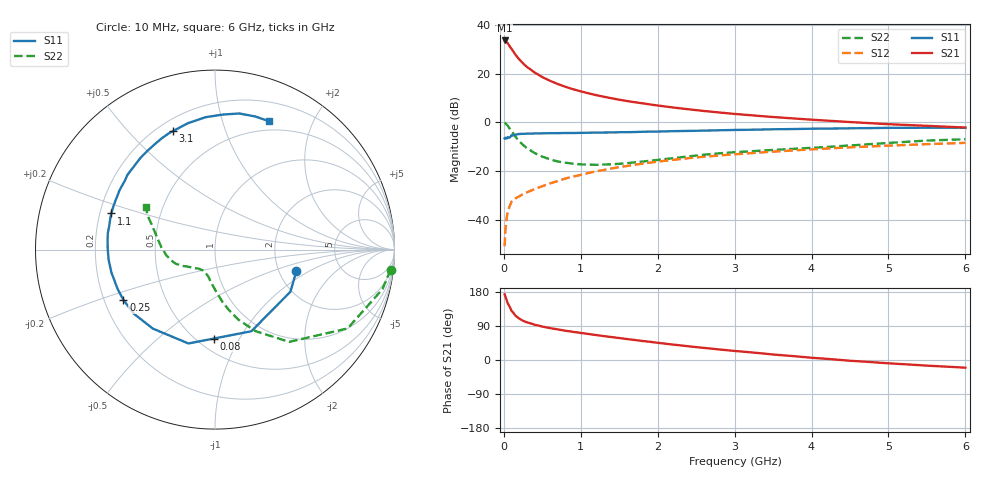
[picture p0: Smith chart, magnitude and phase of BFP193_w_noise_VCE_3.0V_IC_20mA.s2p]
! (c) 2017  Infineon Technologies AG, Munich
! Infineon Technologies  Discrete & RF Semiconductors
! BFP193
! VCE =  3.0 V,  IC =  20 mA
! Common Emitter S-Parameters:  Jan 2017
# GHz  S  MA  R  50
!  f  S11  S21  S12  S22
! GHz  MAG  ANG  MAG  ANG  MAG  ANG  MAG  ANG
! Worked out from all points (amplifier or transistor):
!   77 points, 10 MHz to 6 GHz, reference 50 ohm
!   highest |S21| = 33.5 dB at 10 MHz (marker M1)
!   |S21| within 3 dB of that: start of sweep to 89.38 MHz
!   unconditionally stable (mu >= 1): 855.7 MHz to 2.577 GHz
!   at 130 MHz: K = 0.39, MSG = 30.2 dB, |S12| = -31.7 dB
!   at 2.2 GHz: K = 1.02, MAG = 10.0 dB, |S12| = -15.4 dB
!   at 6 GHz: K = 0.92, MSG = 3.1 dB, |S12| = -8.4 dB
!   lowest NFmin = 1.05 dB at 450 MHz
!   S11 on the Smith chart (normalised r, x): 10 MHz: 2.49, -0.77; 80 MHz: 0.60, -0.79; 250 MHz: 0.28, -0.24; 1.1 GHz: 0.25, +0.16; 3.1 GHz: 0.26, +0.67; 6 GHz: 0.40, +1.43
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0.01  0.4691 -14.8  47.54 173.3  0.0029 85.7  0.9852 -6.5
0.02  0.4814 -29.2  47.35 167.0  0.0062 84.9  0.9585 -13.3
0.05  0.498 -66.0  41.79 149.6  0.0147 67.6  0.8597 -30.7
0.08  0.4958 -90.9  35.35 138.9  0.02 59.4  0.7279 -41.7
0.1  0.5435 -105.8  31.97 129.5  0.0237 56.0  0.6596 -51.2
0.15  0.5599 -128.1  24.45 117.3  0.0275 50.7  0.5092 -63.4
0.2  0.5764 -141.7  19.5 109.3  0.0305 50.6  0.4118 -71.5
0.25  0.5819 -151.2  16.09 103.4  0.0339 50.0  0.344 -77.2
0.3  0.5854 -157.8  13.63 99.4  0.0367 50.2  0.2952 -81.8
0.4  0.5911 -167.5  10.46 93.0  0.0428 54.2  0.2343 -88.4
0.5  0.5953 -174.4  8.438 88.2  0.049 55.7  0.198 -94.0
0.6  0.5977 179.9  7.09 84.2  0.056 56.5  0.1744 -99.0
0.7  0.6001 175.5  6.094 80.8  0.0625 58.6  0.1577 -103.0
0.9  0.6036 167.7  4.758 74.3  0.0772 59.8  0.1422 -110.9
1.1  0.612 160.8  3.927 68.7  0.0916 59.8  0.136 -118.0
1.5  0.6264 148.3  2.907 57.9  0.1206 57.5  0.1412 -131.3
2.1  0.6521 131.7  2.109 43.1  0.1632 51.7  0.1767 -147.2
2.6  0.6759 119.9  1.709 31.9  0.197 46.2  0.2165 -156.8
3.1  0.7005 109.6  1.443 22.2  0.227 40.6  0.2492 -165.9
4.1  0.7413 92.6  1.107 4.5  0.2846 29.6  0.3062 174.9
5.1  0.7704 78.6  0.901 -9.9  0.3373 18.3  0.3867 157.4
6  0.7762 67.2  0.782 -20.3  0.3792 8.3  0.4497 148.5
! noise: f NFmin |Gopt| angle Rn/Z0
0.45  1.05  0.27  180  0.07
0.9  1.13  0.36  -178  0.07
1.9  1.76  0.56  -140  0.15
2.4  2.1  0.62  -124  0.34
